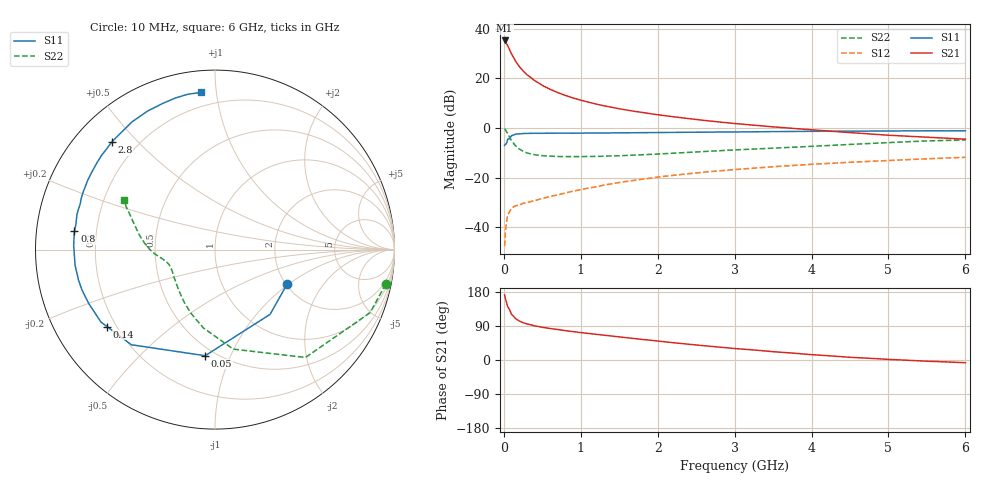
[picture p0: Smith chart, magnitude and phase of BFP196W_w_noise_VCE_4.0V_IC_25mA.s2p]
! Infineon Technologies  Discrete & RF Semiconductors
! BFP196W
! VCE =  4.0 V,  IC =  25 mA
! Common Emitter S-Parameters:  Jan 2017
# GHz  S  MA  R  50
!  f  S11  S21  S12  S22
! GHz  MAG  ANG  MAG  ANG  MAG  ANG  MAG  ANG
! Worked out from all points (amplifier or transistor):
!   77 points, 10 MHz to 6 GHz, reference 50 ohm
!   highest |S21| = 35.2 dB at 10 MHz (marker M1)
!   |S21| within 3 dB of that: start of sweep to 64.24 MHz
!   unconditionally stable (mu >= 1): 875.1 MHz to 3.268 GHz
!   at 130 MHz: K = 0.28, MSG = 29.9 dB, |S12| = -31.7 dB
!   at 2.2 GHz: K = 1.05, MAG = 10.4 dB, |S12| = -19.0 dB
!   at 6 GHz: K = 0.92, MSG = 3.6 dB, |S12| = -11.8 dB
!   lowest NFmin = 1.07 dB at 450 MHz
!   S11 on the Smith chart (normalised r, x): 10 MHz: 2.05, -0.97; 50 MHz: 0.44, -0.81; 140 MHz: 0.17, -0.31; 800 MHz: 0.12, +0.06; 2.8 GHz: 0.11, +0.42; 6 GHz: 0.12, +0.91
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0.01  0.4458 -25.1  57.78 171.5  0.0042 81.9  0.9706 -11.4
0.02  0.4736 -49.6  55.43 162.0  0.0082 75.5  0.9332 -22.1
0.05  0.5937 -95.3  45.53 140.4  0.0177 56.7  0.7844 -50.0
0.1  0.7058 -131.3  30.86 120.0  0.0243 41.6  0.5638 -79.6
0.14  0.7388 -144.5  24.04 112.2  0.0267 38.2  0.4618 -93.8
0.15  0.7528 -147.6  22.43 109.5  0.0273 37.4  0.442 -98.3
0.2  0.7649 -156.9  17.34 103.0  0.0281 34.6  0.3792 -110.7
0.25  0.7747 -163.1  14.08 98.4  0.0305 35.2  0.3406 -120.1
0.3  0.7792 -167.6  11.84 95.2  0.0315 36.4  0.3163 -127.1
0.4  0.7845 -173.7  8.988 90.1  0.0348 40.1  0.2903 -137.2
0.5  0.7843 -178.1  7.207 86.3  0.0381 43.2  0.278 -143.9
0.6  0.7876 178.4  6.029 83.1  0.0421 45.7  0.2726 -148.8
0.7  0.7882 175.5  5.167 80.4  0.0451 48.5  0.2675 -152.3
0.8  0.7897 172.5  4.532 77.4  0.0494 50.8  0.2665 -154.9
1.1  0.7939 165.6  3.311 70.1  0.062 53.8  0.268 -160.3
1.5  0.8005 157.4  2.44 61.0  0.0802 55.5  0.2775 -165.4
2.1  0.8132 145.6  1.769 47.9  0.1074 54.1  0.3056 -171.4
2.8  0.8311 133.8  1.323 34.0  0.1377 50.2  0.3495 -177.9
3.1  0.8352 129.1  1.196 28.8  0.1499 48.0  0.3686 178.9
4.1  0.8592 114.6  0.898 12.8  0.1898 40.7  0.4358 167.9
5.1  0.8738 103.7  0.703 0.7  0.2257 33.2  0.5172 157.2
6  0.8789 95.0  0.597 -7.2  0.2577 26.3  0.576 151.1
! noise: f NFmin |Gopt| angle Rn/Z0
0.45  1.07  0.43  175  0.05
0.9  1.24  0.51  -179  0.06
1.9  2.11  0.68  -152  0.12
2.4  2.53  0.74  -146  0.21
